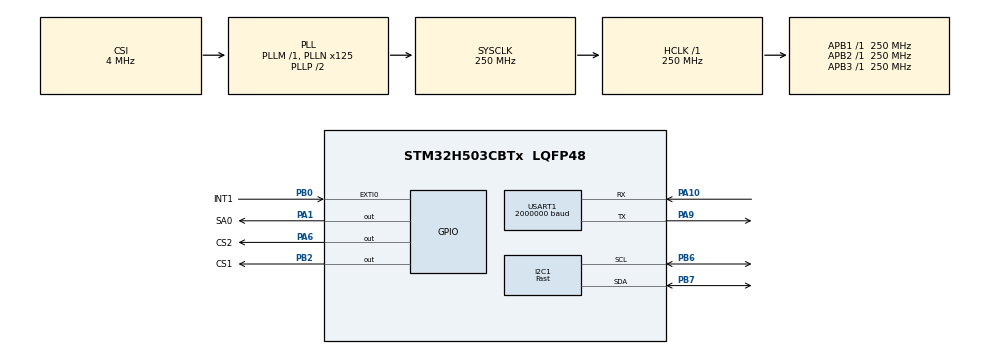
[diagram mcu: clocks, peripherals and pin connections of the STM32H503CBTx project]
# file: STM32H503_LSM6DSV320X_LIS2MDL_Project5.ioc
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I2C1.I2C_Speed_Mode=I2C_Fast
I2C1.Timing=0x10C043E5
Mcu.Family=STM32H5
Mcu.Name=STM32H503CBTx
Mcu.Package=LQFP48
NVIC.EXTI0_IRQn=true\:0\:0\:false\:false\:true\:true\:true\:true
NVIC.PriorityGroup=NVIC_PRIORITYGROUP_4
PA1.GPIO_Label=SA0
PA1.Signal=GPIO_Output
PA10.Mode=Asynchronous
PA10.Signal=USART1_RX
PA6.GPIO_Label=CS2
PA6.Signal=GPIO_Output
PA9.Mode=Asynchronous
PA9.Signal=USART1_TX
PB0.GPIO_Label=INT1
PB0.Signal=GPXTI0
PB2.GPIO_Label=CS1
PB2.Signal=GPIO_Output
PB6.Mode=I2C
PB6.Signal=I2C1_SCL
PB7.Mode=I2C
PB7.Signal=I2C1_SDA
ProjectManager.HeapSize=0x2000
ProjectManager.StackSize=0x4000
ProjectManager.TargetToolchain=MDK-ARM V5.37
RCC.ADCFreq_Value=250000000
RCC.AHBFreq_Value=250000000
RCC.APB1Freq_Value=250000000
RCC.APB1TimFreq_Value=250000000
RCC.APB2Freq_Value=250000000
RCC.APB2TimFreq_Value=250000000
RCC.APB3Freq_Value=250000000
RCC.CSI_VALUE=4000000
RCC.CortexFreq_Value=250000000
RCC.EPOD_VALUE=4000000
RCC.HCLKFreq_Value=250000000
RCC.HSE_VALUE=25000000
RCC.HSI48_VALUE=48000000
RCC.HSI_VALUE=64000000
RCC.LSE_VALUE=32768
RCC.LSIRC_VALUE=32000
RCC.PLL2FRACN=0
RCC.PLLFRACN=0
RCC.PLLN=125
RCC.SYSCLKFreq_VALUE=250000000
RCC.SYSCLKSource=RCC_SYSCLKSOURCE_PLLCLK
RCC.USBFreq_Value=48000000
RCC.VCOOutputFreq_Value=500000000
USART1.BaudRate=2000000
USART1.VirtualMode-Asynchronous=VM_ASYNC
VP_BOOTPATH_VS_BOOTPATH.Mode=BP_Activate
VP_CORTEX_M33_NS_VS_Hclk.Mode=Hclk_Mode
VP_ICACHE_VS_ICACHE.Mode=DirectMappedCache
VP_MEMORYMAP_VS_MEMORYMAP.Mode=CurAppReg
VP_PWR_VS_LPOM.Mode=PowerOptimisation
VP_PWR_VS_SECSignals.Mode=Security/Privilege
board=custom

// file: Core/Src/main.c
/* USER CODE BEGIN Header */
/**
  ******************************************************************************
  * @file           : main.c
  * @brief          : Main program body
  ******************************************************************************
  * @attention
  *
  * Copyright (c) 2026 STMicroelectronics.
  * All rights reserved.
  *
  * This software is licensed under terms that can be found in the LICENSE file
  * in the root directory of this software component.
  * If no LICENSE file comes with this software, it is provided AS-IS.
  *
  ******************************************************************************
  */
/* USER CODE END Header */
#include "main.h"
#include "i2c.h"
#include "icache.h"
#include "usart.h"
#include "gpio.h"

/* USER CODE BEGIN Includes */
#include "stdio.h"
#include "lsm6dsv320x_reg.h"
/* USER CODE END Includes */

void SystemClock_Config(void);

/* USER CODE BEGIN 0 */
int fputc(int ch, FILE *f){
	HAL_UART_Transmit(&huart1 , (uint8_t *)&ch, 1, 0xFFFF);
	return ch;
}

#define SENSOR_BUS hi2c1

/* Private macro -------------------------------------------------------------*/
#define    BOOT_TIME            10 //ms
#define    CNT_FOR_OUTPUT       100

/* Private variables ---------------------------------------------------------*/
//static int16_t data_raw_motion[3];
//static int16_t data_raw_temperature;
//static float_t acceleration_mg[3];
//static float_t angular_rate_mdps[3];
//static float_t temperature_degC;
static uint8_t whoamI;
static uint8_t tx_buffer[1000];

static lsm6dsv320x_filt_settling_mask_t filt_settling_mask;

/* Extern variables ----------------------------------------------------------*/

/* Private functions ---------------------------------------------------------*/

#define AXIS_X  0x1
#define AXIS_Y  0x2
#define AXIS_Z  0x4

/*
 *   WARNING:
 *   Functions declare in this section are defined at the end of this file
 *   and are strictly related to the hardware platform used.
 *
 */
static int32_t platform_write(void *handle, uint8_t reg, const uint8_t *bufp,
                              uint16_t len);
static int32_t platform_read(void *handle, uint8_t reg, uint8_t *bufp,
                             uint16_t len);
static void tx_com( uint8_t *tx_buffer, uint16_t len );
static void platform_delay(uint32_t ms);
static void platform_init(void);

static   stmdev_ctx_t dev_ctx;
static   uint8_t thread_wake = 0;

void HAL_GPIO_EXTI_Rising_Callback(uint16_t GPIO_Pin)
{
  if (GPIO_Pin == INT1_Pin) {
    thread_wake = 1;
  }
}

/* USER CODE END 0 */

int main(void)
{

  /* MCU Configuration--------------------------------------------------------*/

  /* Reset of all peripherals, Initializes the Flash interface and the Systick. */
  HAL_Init();

  /* Configure the system clock */
  SystemClock_Config();

  /* Initialize all configured peripherals */
  MX_GPIO_Init();
  MX_I2C1_Init();
  MX_ICACHE_Init();
  MX_USART1_UART_Init();
  /* USER CODE BEGIN 2 */

	printf("HELLO!\n");
  HAL_GPIO_WritePin(CS1_GPIO_Port, CS1_Pin, GPIO_PIN_SET);
  HAL_GPIO_WritePin(SA0_GPIO_Port, SA0_Pin, GPIO_PIN_RESET);
  HAL_GPIO_WritePin(CS2_GPIO_Port, CS2_Pin, GPIO_PIN_SET);
	HAL_Delay(100);

  lsm6dsv320x_pin_int_route_hg_t pin_int = { 0 };
  lsm6dsv320x_hg_wake_up_cfg_t wu_cfg = { 0 };
  lsm6dsv320x_hg_wu_interrupt_cfg_t int_cfg = { 0 };

  /* Initialize mems driver interface */
  dev_ctx.write_reg = platform_write;
  dev_ctx.read_reg = platform_read;
  dev_ctx.mdelay = platform_delay;
  dev_ctx.handle = &SENSOR_BUS;

  /* Init test platform */
//  platform_init();

  /* Wait sensor boot time */
  platform_delay(BOOT_TIME);

  /* Check device ID */
  lsm6dsv320x_device_id_get(&dev_ctx, &whoamI);
	printf("LSM6DSV320X_ID=0x%x,whoamI=0x%x",LSM6DSV320X_ID,whoamI);
  if (whoamI != LSM6DSV320X_ID)
    while (1);

  /* Perform device power-on-reset */
  lsm6dsv320x_sw_por(&dev_ctx);

  /* Enable Block Data Update */
  lsm6dsv320x_block_data_update_set(&dev_ctx, PROPERTY_ENABLE);

  /* Set Output Data Rate.
   * Selected data rate have to be equal or greater with respect
   * with MLC data rate.
   */
  lsm6dsv320x_hg_xl_data_rate_set(&dev_ctx, LSM6DSV320X_HG_XL_ODR_AT_960Hz, 1);

  /* Set full scale */
  lsm6dsv320x_hg_xl_full_scale_set(&dev_ctx, LSM6DSV320X_256g);

  /* Configure filtering chain */
  filt_settling_mask.drdy = PROPERTY_ENABLE;
  filt_settling_mask.irq_xl = PROPERTY_ENABLE;
  filt_settling_mask.irq_g = PROPERTY_ENABLE;
  lsm6dsv320x_filt_settling_mask_set(&dev_ctx, filt_settling_mask);
  lsm6dsv320x_filt_xl_lp2_set(&dev_ctx, PROPERTY_ENABLE);
  lsm6dsv320x_filt_xl_lp2_bandwidth_set(&dev_ctx, LSM6DSV320X_XL_STRONG);

  wu_cfg.hg_shock_dur = 1;
  wu_cfg.hg_wakeup_ths = 4;
  lsm6dsv320x_hg_wake_up_cfg_set(&dev_ctx, wu_cfg);

  /* enable interrupt on HG wakeup */
  pin_int.hg_wakeup = PROPERTY_ENABLE;
  lsm6dsv320x_pin_int1_route_hg_set(&dev_ctx, &pin_int);
  //lsm6dsv320x_pin_int2_route_hg_set(&dev_ctx, &pin_int);

  int_cfg.hg_interrupts_enable = 1;
  lsm6dsv320x_hg_wu_interrupt_cfg_set(&dev_ctx, int_cfg);
  /* USER CODE END 2 */

  /* Infinite loop */
  /* USER CODE BEGIN WHILE */
  while (1)
  {

    if (thread_wake) {
      lsm6dsv320x_hg_event_t status;

      thread_wake = 0;

      lsm6dsv320x_hg_event_get(&dev_ctx, &status);

      if (status.hg_event) {
        if (status.hg_wakeup) {
          uint8_t axis = 0;

          if (status.hg_wakeup_x) {
            axis |= AXIS_X;
          }

          if (status.hg_wakeup_y) {
            axis |= AXIS_Y;
          }

          if (status.hg_wakeup_z) {
            axis |= AXIS_Z;
          }

          printf("WAKEUP event on X: %d, Y = %d, Z= %d\r\n",
                  (axis & AXIS_X) ? 1 : 0,
                  (axis & AXIS_Y) ? 1 : 0,
                  (axis & AXIS_Z) ? 1 : 0);
        }
      }
    }

    /* USER CODE END WHILE */

  }
}

void SystemClock_Config(void)
{
  RCC_OscInitTypeDef RCC_OscInitStruct = {0};
  RCC_ClkInitTypeDef RCC_ClkInitStruct = {0};

  /** Configure the main internal regulator output voltage
  */
  __HAL_PWR_VOLTAGESCALING_CONFIG(PWR_REGULATOR_VOLTAGE_SCALE0);

  while(!__HAL_PWR_GET_FLAG(PWR_FLAG_VOSRDY)) {}

  /** Initializes the RCC Oscillators according to the specified parameters
  * in the RCC_OscInitTypeDef structure.
  */
  RCC_OscInitStruct.OscillatorType = RCC_OSCILLATORTYPE_CSI;
  RCC_OscInitStruct.CSIState = RCC_CSI_ON;
  RCC_OscInitStruct.CSICalibrationValue = RCC_CSICALIBRATION_DEFAULT;
  RCC_OscInitStruct.PLL.PLLState = RCC_PLL_ON;
  RCC_OscInitStruct.PLL.PLLSource = RCC_PLL1_SOURCE_CSI;
  RCC_OscInitStruct.PLL.PLLM = 1;
  RCC_OscInitStruct.PLL.PLLN = 125;
  RCC_OscInitStruct.PLL.PLLP = 2;
  RCC_OscInitStruct.PLL.PLLQ = 2;
  RCC_OscInitStruct.PLL.PLLR = 2;
  RCC_OscInitStruct.PLL.PLLRGE = RCC_PLL1_VCIRANGE_2;
  RCC_OscInitStruct.PLL.PLLVCOSEL = RCC_PLL1_VCORANGE_WIDE;
  RCC_OscInitStruct.PLL.PLLFRACN = 0;
  if (HAL_RCC_OscConfig(&RCC_OscInitStruct) != HAL_OK)
  {
    Error_Handler();
  }

  /** Initializes the CPU, AHB and APB buses clocks
  */
  RCC_ClkInitStruct.ClockType = RCC_CLOCKTYPE_HCLK|RCC_CLOCKTYPE_SYSCLK
                              |RCC_CLOCKTYPE_PCLK1|RCC_CLOCKTYPE_PCLK2
                              |RCC_CLOCKTYPE_PCLK3;
  RCC_ClkInitStruct.SYSCLKSource = RCC_SYSCLKSOURCE_PLLCLK;
  RCC_ClkInitStruct.AHBCLKDivider = RCC_SYSCLK_DIV1;
  RCC_ClkInitStruct.APB1CLKDivider = RCC_HCLK_DIV1;
  RCC_ClkInitStruct.APB2CLKDivider = RCC_HCLK_DIV1;
  RCC_ClkInitStruct.APB3CLKDivider = RCC_HCLK_DIV1;

  if (HAL_RCC_ClockConfig(&RCC_ClkInitStruct, FLASH_LATENCY_5) != HAL_OK)
  {
    Error_Handler();
  }

  /** Configure the programming delay
  */
  __HAL_FLASH_SET_PROGRAM_DELAY(FLASH_PROGRAMMING_DELAY_2);
}

/* USER CODE BEGIN 4 */
/*
 * @brief  Write generic device register (platform dependent)
 *
 * @param  handle    customizable argument. In this examples is used in
 *                   order to select the correct sensor bus handler.
 * @param  reg       register to write
 * @param  bufp      pointer to data to write in register reg
 * @param  len       number of consecutive register to write
 *
 */
static int32_t platform_write(void *handle, uint8_t reg, const uint8_t *bufp,
                              uint16_t len)
{

  HAL_I2C_Mem_Write(handle, LSM6DSV320X_I2C_ADD_L, reg,
                    I2C_MEMADD_SIZE_8BIT, (uint8_t*) bufp, len, 1000);
  return 0;
}

/*
 * @brief  Read generic device register (platform dependent)
 *
 * @param  handle    customizable argument. In this examples is used in
 *                   order to select the correct sensor bus handler.
 * @param  reg       register to read
 * @param  bufp      pointer to buffer that store the data read
 * @param  len       number of consecutive register to read
 *
 */
static int32_t platform_read(void *handle, uint8_t reg, uint8_t *bufp,
                             uint16_t len)
{
  HAL_I2C_Mem_Read(handle, LSM6DSV320X_I2C_ADD_L, reg,
                   I2C_MEMADD_SIZE_8BIT, bufp, len, 1000);
  return 0;
}

/*
 * @brief  platform specific delay (platform dependent)
 *
 * @param  ms        delay in ms
 *
 */
static void platform_delay(uint32_t ms)
{
  HAL_Delay(ms);
}
/* USER CODE END 4 */

void Error_Handler(void)
{
  __disable_irq();
  while (1)
  {
  }
}
